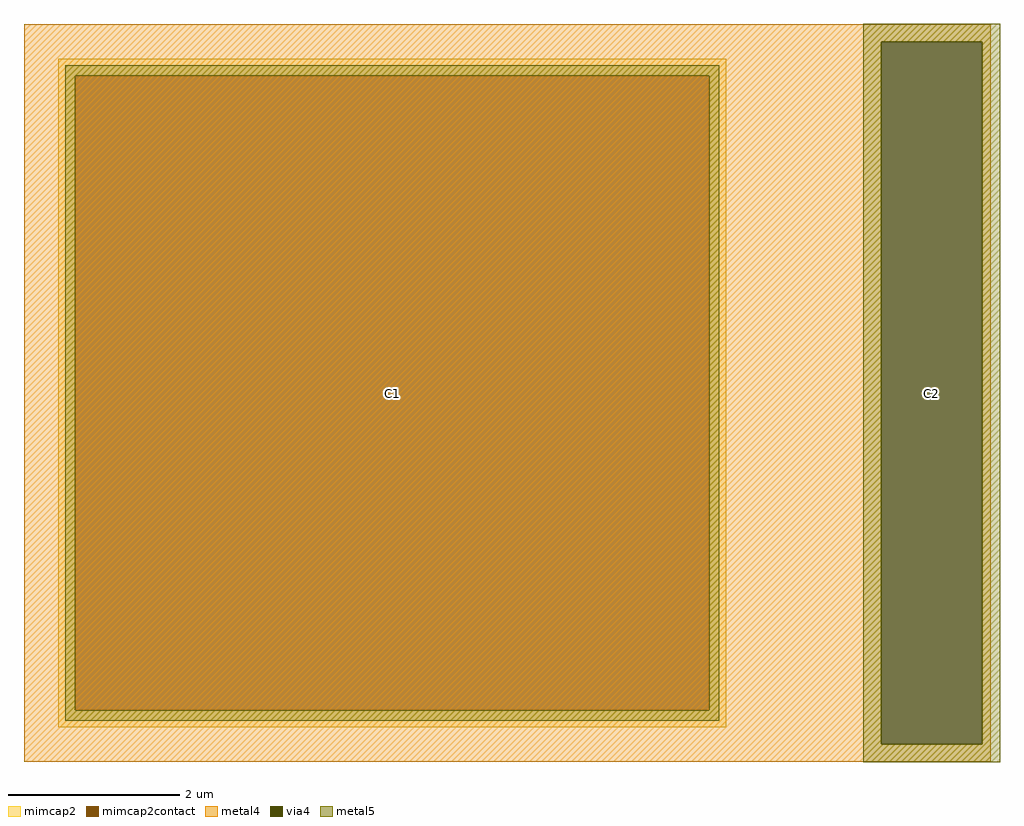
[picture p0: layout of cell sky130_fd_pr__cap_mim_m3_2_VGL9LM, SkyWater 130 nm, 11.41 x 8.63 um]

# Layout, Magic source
magic
tech sky130A
magscale 1 2
<< metal4 >>
rect -1130 821 1130 862
rect -1130 -821 874 821
rect 1110 -821 1130 821
rect -1130 -862 1130 -821
<< via4 >>
rect 874 -821 1110 821
<< mimcap2 >>
rect -1050 742 512 782
rect -1050 -742 -1010 742
rect 472 -742 512 742
rect -1050 -782 512 -742
<< mimcap2contact >>
rect -1010 -742 472 742
<< metal5 >>
rect 832 821 1152 863
rect -1034 742 496 766
rect -1034 -742 -1010 742
rect 472 -742 496 742
rect -1034 -766 496 -742
rect 832 -821 874 821
rect 1110 -821 1152 821
rect 832 -863 1152 -821
<< labels >>
rlabel via4 992 0 992 0 0 C2
port 3 nsew
rlabel mimcap2contact -269 0 -269 0 0 C1
port 4 nsew
<< properties >>
string FIXED_BBOX -1130 -862 592 862
string gencell sky130_fd_pr__cap_mim_m3_2
string library sky130
string parameters w 7.81 l 7.82 val 128.087 carea 2.00 cperi 0.19 class capacitor nx 1 ny 1 dummy 0 square 0 lmin 2.00 wmin 2.00 lmax 30.0 wmax 30.0 dc 0 bconnect 1 tconnect 1 ccov 100 doports 1
<< end >>
